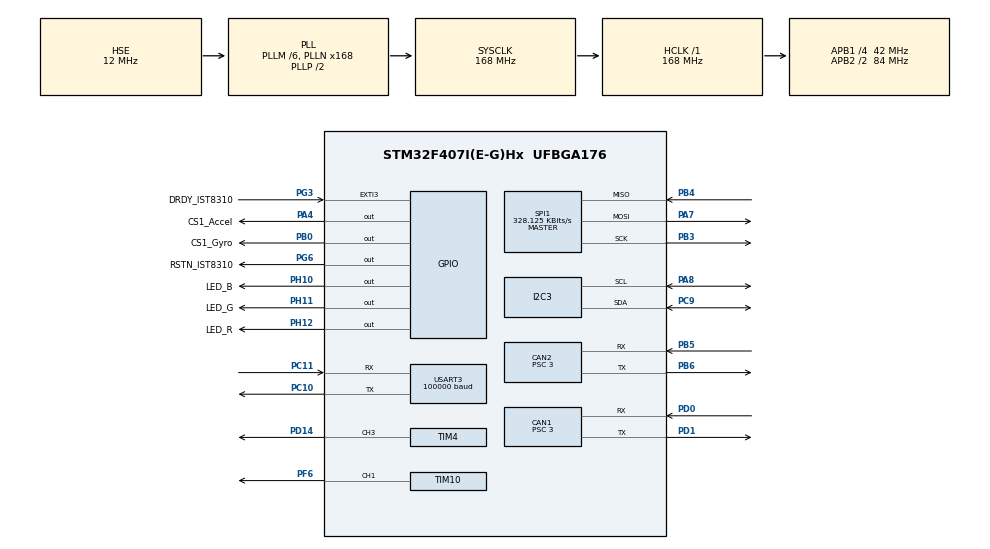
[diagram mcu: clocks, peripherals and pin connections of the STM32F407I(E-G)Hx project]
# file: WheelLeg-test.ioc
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CAN1.ABOM=ENABLE
CAN1.AWUM=ENABLE
CAN1.BS1=CAN_BS1_10TQ
CAN1.BS2=CAN_BS2_3TQ
CAN1.CalculateBaudRate=1000000
CAN1.CalculateTimeBit=1000
CAN1.CalculateTimeQuantum=71.42857142857143
CAN1.NART=ENABLE
CAN1.Prescaler=3
CAN2.ABOM=ENABLE
CAN2.AWUM=ENABLE
CAN2.BS1=CAN_BS1_10TQ
CAN2.BS2=CAN_BS2_3TQ
CAN2.CalculateBaudRate=1000000
CAN2.CalculateTimeBit=1000
CAN2.CalculateTimeQuantum=71.42857142857143
CAN2.NART=ENABLE
CAN2.Prescaler=3
Dma.I2C3_RX.3.Direction=DMA_PERIPH_TO_MEMORY
Dma.I2C3_RX.3.FIFOMode=DMA_FIFOMODE_DISABLE
Dma.I2C3_RX.3.Instance=DMA1_Stream2
Dma.I2C3_RX.3.MemDataAlignment=DMA_MDATAALIGN_BYTE
Dma.I2C3_RX.3.MemInc=DMA_MINC_ENABLE
Dma.I2C3_RX.3.Mode=DMA_NORMAL
Dma.I2C3_RX.3.PeriphDataAlignment=DMA_PDATAALIGN_BYTE
Dma.I2C3_RX.3.PeriphInc=DMA_PINC_DISABLE
Dma.I2C3_RX.3.Priority=DMA_PRIORITY_VERY_HIGH
Dma.I2C3_TX.4.Direction=DMA_MEMORY_TO_PERIPH
Dma.I2C3_TX.4.FIFOMode=DMA_FIFOMODE_DISABLE
Dma.I2C3_TX.4.Instance=DMA1_Stream4
Dma.I2C3_TX.4.MemDataAlignment=DMA_MDATAALIGN_BYTE
Dma.I2C3_TX.4.MemInc=DMA_MINC_ENABLE
Dma.I2C3_TX.4.Mode=DMA_NORMAL
Dma.I2C3_TX.4.PeriphDataAlignment=DMA_PDATAALIGN_BYTE
Dma.I2C3_TX.4.PeriphInc=DMA_PINC_DISABLE
Dma.I2C3_TX.4.Priority=DMA_PRIORITY_VERY_HIGH
Dma.Request0=USART3_RX
Dma.Request1=SPI1_RX
Dma.Request2=SPI1_TX
Dma.Request3=I2C3_RX
Dma.Request4=I2C3_TX
Dma.SPI1_RX.1.Direction=DMA_PERIPH_TO_MEMORY
Dma.SPI1_RX.1.FIFOMode=DMA_FIFOMODE_DISABLE
Dma.SPI1_RX.1.Instance=DMA2_Stream0
Dma.SPI1_RX.1.MemDataAlignment=DMA_MDATAALIGN_BYTE
Dma.SPI1_RX.1.MemInc=DMA_MINC_ENABLE
Dma.SPI1_RX.1.Mode=DMA_NORMAL
Dma.SPI1_RX.1.PeriphDataAlignment=DMA_PDATAALIGN_BYTE
Dma.SPI1_RX.1.PeriphInc=DMA_PINC_DISABLE
Dma.SPI1_RX.1.Priority=DMA_PRIORITY_VERY_HIGH
Dma.SPI1_TX.2.Direction=DMA_MEMORY_TO_PERIPH
Dma.SPI1_TX.2.FIFOMode=DMA_FIFOMODE_DISABLE
Dma.SPI1_TX.2.Instance=DMA2_Stream3
Dma.SPI1_TX.2.MemDataAlignment=DMA_MDATAALIGN_BYTE
Dma.SPI1_TX.2.MemInc=DMA_MINC_ENABLE
Dma.SPI1_TX.2.Mode=DMA_NORMAL
Dma.SPI1_TX.2.PeriphDataAlignment=DMA_PDATAALIGN_BYTE
Dma.SPI1_TX.2.PeriphInc=DMA_PINC_DISABLE
Dma.SPI1_TX.2.Priority=DMA_PRIORITY_VERY_HIGH
Dma.USART3_RX.0.Direction=DMA_PERIPH_TO_MEMORY
Dma.USART3_RX.0.FIFOMode=DMA_FIFOMODE_DISABLE
Dma.USART3_RX.0.Instance=DMA1_Stream1
Dma.USART3_RX.0.MemDataAlignment=DMA_MDATAALIGN_BYTE
Dma.USART3_RX.0.MemInc=DMA_MINC_ENABLE
Dma.USART3_RX.0.Mode=DMA_NORMAL
Dma.USART3_RX.0.PeriphDataAlignment=DMA_PDATAALIGN_BYTE
Dma.USART3_RX.0.PeriphInc=DMA_PINC_DISABLE
Dma.USART3_RX.0.Priority=DMA_PRIORITY_VERY_HIGH
FREERTOS.Tasks01=defaultTask,24,128,StartDefaultTask,Default,NULL,Dynamic,NULL,NULL
FREERTOS.configENABLE_FPU=1
I2C3.I2C_Mode=I2C_Fast
Mcu.Family=STM32F4
Mcu.Name=STM32F407I(E-G)Hx
Mcu.Package=UFBGA176
NVIC.CAN1_RX1_IRQn=true\:5\:0\:false\:false\:true\:true\:true\:true\:true
NVIC.CAN2_RX0_IRQn=true\:5\:0\:false\:false\:true\:true\:true\:true\:true
NVIC.DMA1_Stream1_IRQn=true\:5\:0\:false\:false\:true\:true\:false\:true\:true
NVIC.DMA1_Stream2_IRQn=true\:5\:0\:false\:false\:true\:true\:false\:true\:true
NVIC.DMA1_Stream4_IRQn=true\:5\:0\:false\:false\:true\:true\:false\:true\:true
NVIC.DMA2_Stream0_IRQn=true\:5\:0\:false\:false\:true\:true\:false\:true\:true
NVIC.DMA2_Stream3_IRQn=true\:5\:0\:false\:false\:true\:true\:false\:true\:true
NVIC.PriorityGroup=NVIC_PRIORITYGROUP_4
NVIC.SPI1_IRQn=true\:5\:0\:false\:false\:true\:true\:true\:true\:true
NVIC.TIM1_TRG_COM_TIM11_IRQn=true\:5\:0\:true\:false\:true\:false\:false\:true\:true
NVIC.TimeBase=TIM1_TRG_COM_TIM11_IRQn
NVIC.TimeBaseIP=TIM11
NVIC.USART3_IRQn=true\:5\:0\:false\:false\:true\:true\:true\:true\:true
PA13.Mode=Serial_Wire
PA13.Signal=SYS_JTMS-SWDIO
PA14.Mode=Serial_Wire
PA14.Signal=SYS_JTCK-SWCLK
PA4.GPIO_Label=CS1_Accel
PA4.PinState=GPIO_PIN_SET
PA4.Signal=GPIO_Output
PA7.Mode=Full_Duplex_Master
PA7.Signal=SPI1_MOSI
PA8.Mode=I2C
PA8.Signal=I2C3_SCL
PB0.GPIO_Label=CS1_Gyro
PB0.PinState=GPIO_PIN_SET
PB0.Signal=GPIO_Output
PB3.Mode=Full_Duplex_Master
PB3.Signal=SPI1_SCK
PB4.Mode=Full_Duplex_Master
PB4.Signal=SPI1_MISO
PB5.Mode=CAN_Activate
PB5.Signal=CAN2_RX
PB6.Mode=CAN_Activate
PB6.Signal=CAN2_TX
PC10.Mode=Asynchronous
PC10.Signal=USART3_TX
PC11.Mode=Asynchronous
PC11.Signal=USART3_RX
PC9.Mode=I2C
PC9.Signal=I2C3_SDA
PD0.Mode=CAN_Activate
PD0.Signal=CAN1_RX
PD1.Mode=CAN_Activate
PD1.Signal=CAN1_TX
PD14.Signal=S_TIM4_CH3
PF6.GPIO_PuPd=GPIO_PULLUP
PF6.GPIO_Speed=GPIO_SPEED_FREQ_HIGH
PF6.Signal=S_TIM10_CH1
PG3.GPIO_Label=DRDY_IST8310
PG3.GPIO_PuPd=GPIO_PULLUP
PG3.Signal=GPXTI3
PG6.GPIO_Label=RSTN_IST8310
PG6.GPIO_PuPd=GPIO_PULLUP
PG6.GPIO_Speed=GPIO_SPEED_FREQ_MEDIUM
PG6.PinState=GPIO_PIN_SET
PG6.Signal=GPIO_Output
PH0-OSC_IN.Mode=HSE-External-Oscillator
PH0-OSC_IN.Signal=RCC_OSC_IN
PH1-OSC_OUT.Mode=HSE-External-Oscillator
PH1-OSC_OUT.Signal=RCC_OSC_OUT
PH10.GPIO_Label=LED_B
PH10.PinState=GPIO_PIN_SET
PH10.Signal=GPIO_Output
PH11.GPIO_Label=LED_G
PH11.Signal=GPIO_Output
PH12.GPIO_Label=LED_R
PH12.Signal=GPIO_Output
ProjectManager.HeapSize=0x200
ProjectManager.StackSize=0x400
ProjectManager.TargetToolchain=CMake
RCC.48MHZClocksFreq_Value=84000000
RCC.AHBFreq_Value=168000000
RCC.APB1CLKDivider=RCC_HCLK_DIV4
RCC.APB1Freq_Value=42000000
RCC.APB1TimFreq_Value=84000000
RCC.APB2CLKDivider=RCC_HCLK_DIV2
RCC.APB2Freq_Value=84000000
RCC.APB2TimFreq_Value=168000000
RCC.CortexFreq_Value=168000000
RCC.HCLKFreq_Value=168000000
RCC.HSE_VALUE=12000000
RCC.HSI_VALUE=16000000
RCC.LSE_VALUE=32768
RCC.PLLM=6
RCC.PLLN=168
RCC.PLLSourceVirtual=RCC_PLLSOURCE_HSE
RCC.SYSCLKFreq_VALUE=168000000
RCC.SYSCLKSource=RCC_SYSCLKSOURCE_PLLCLK
RCC.VCOOutputFreq_Value=336000000
SH.S_TIM10_CH1.0=TIM10_CH1,PWM Generation1 CH1
SH.S_TIM4_CH3.0=TIM4_CH3,PWM Generation3 CH3
SPI1.BaudRatePrescaler=SPI_BAUDRATEPRESCALER_256
SPI1.CLKPhase=SPI_PHASE_2EDGE
SPI1.CLKPolarity=SPI_POLARITY_HIGH
SPI1.CalculateBaudRate=328.125 KBits/s
SPI1.Direction=SPI_DIRECTION_2LINES
SPI1.Mode=SPI_MODE_MASTER
SPI1.VirtualType=VM_MASTER
TIM10.Channel=TIM_CHANNEL_1
TIM10.OC1Preload_PWM=DISABLE
TIM10.Period=4999
TIM4.Channel-PWM\ Generation3\ CH3=TIM_CHANNEL_3
TIM4.Period=999
TIM4.Prescaler=1
TIM7.Prescaler=83
USART3.BaudRate=100000
USART3.Mode=MODE_RX
USART3.Parity=PARITY_EVEN
USART3.VirtualMode=VM_ASYNC
USART3.WordLength=WORDLENGTH_9B
VP_FREERTOS_VS_CMSIS_V2.Mode=CMSIS_V2
VP_SYS_VS_tim11.Mode=TIM11
VP_TIM10_VS_ClockSourceINT.Mode=Enable_Timer
VP_TIM4_VS_ClockSourceINT.Mode=Internal
VP_TIM7_VS_ClockSourceINT.Mode=Enable_Timer
board=custom

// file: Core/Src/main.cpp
/* USER CODE BEGIN Header */
/**
 ******************************************************************************
 * @file           : main.c
 * @brief          : Main program body
 ******************************************************************************
 * @attention
 *
 * Copyright (c) 2024 STMicroelectronics.
 * All rights reserved.
 *
 * This software is licensed under terms that can be found in the LICENSE file
 * in the root directory of this software component.
 * If no LICENSE file comes with this software, it is provided AS-IS.
 *
 ******************************************************************************
 */
/* USER CODE END Header */
#include "main.h"
#include "cmsis_os.h"
#include "can.h"
#include "dma.h"
#include "i2c.h"
#include "spi.h"
#include "tim.h"
#include "usart.h"
#include "gpio.h"

/* USER CODE BEGIN Includes */
#include "tasks.hpp"
#include "Utils/note.hpp"
#include "Utils/music.hpp"
/* USER CODE END Includes */

/* USER CODE BEGIN PV */
uint16_t delayUnit = 150;
// Note note[] = { { H3b, 2 * delayUnit }, { M3b, 1 * delayUnit },
//                 { M7b, 4 * delayUnit }, { M6b, 6 * delayUnit },
//                 { H3b, 2 * delayUnit }, { M7b, 10 * delayUnit } };
Note note[] = { { H1, 1 * delayUnit }, { Z0, 1 * delayUnit },
                { H1, 1 * delayUnit }, { Z0, 2 * delayUnit },
                { H1, 1 * delayUnit }, { H2, 1 * delayUnit },
                { H3, 1 * delayUnit } };
/* USER CODE END PV */

int main(void)
{

    /* MCU
     * Configuration--------------------------------------------------------*/

    /* Reset of all peripherals, Initializes the Flash interface and the
     * Systick. */
    HAL_Init();

    /* Configure the system clock */
    SystemClock_Config();

    /* Initialize all configured peripherals */
    MX_GPIO_Init();
    MX_DMA_Init();
    MX_CAN1_Init();
    MX_CAN2_Init();
    MX_USART3_UART_Init();
    MX_I2C3_Init();
    MX_SPI1_Init();
    MX_TIM10_Init();
    MX_TIM7_Init();
    MX_TIM4_Init();
    /* USER CODE BEGIN 2 */
    HAL_TIM_Base_Start(&htim4);
    HAL_TIM_PWM_Start(&htim4, TIM_CHANNEL_3);

    // windows XP startup sound
    for (int i = 0; i < 7; i++) {
        note[i].play();
    }

    wheelControlMutex = xSemaphoreCreateMutex();
    /* USER CODE END 2 */

    /* Init scheduler */
    osKernelInitialize();

    /* Call init function for freertos objects (in cmsis_os2.c) */
    MX_FREERTOS_Init();
    WheelLegTasksInit();

    /* Start scheduler */
    osKernelStart();

    /* We should never get here as control is now taken by the scheduler */

    /* Infinite loop */
    while (1) {

    }
}

void SystemClock_Config(void)
{
    RCC_OscInitTypeDef RCC_OscInitStruct = { 0 };
    RCC_ClkInitTypeDef RCC_ClkInitStruct = { 0 };

    /** Configure the main internal regulator output voltage
     */
    __HAL_RCC_PWR_CLK_ENABLE();
    __HAL_PWR_VOLTAGESCALING_CONFIG(PWR_REGULATOR_VOLTAGE_SCALE1);

    /** Initializes the RCC Oscillators according to the specified parameters
     * in the RCC_OscInitTypeDef structure.
     */
    RCC_OscInitStruct.OscillatorType = RCC_OSCILLATORTYPE_HSE;
    RCC_OscInitStruct.HSEState = RCC_HSE_ON;
    RCC_OscInitStruct.PLL.PLLState = RCC_PLL_ON;
    RCC_OscInitStruct.PLL.PLLSource = RCC_PLLSOURCE_HSE;
    RCC_OscInitStruct.PLL.PLLM = 6;
    RCC_OscInitStruct.PLL.PLLN = 168;
    RCC_OscInitStruct.PLL.PLLP = RCC_PLLP_DIV2;
    RCC_OscInitStruct.PLL.PLLQ = 4;
    if (HAL_RCC_OscConfig(&RCC_OscInitStruct) != HAL_OK) {
        Error_Handler();
    }

    /** Initializes the CPU, AHB and APB buses clocks
     */
    RCC_ClkInitStruct.ClockType = RCC_CLOCKTYPE_HCLK | RCC_CLOCKTYPE_SYSCLK |
                                  RCC_CLOCKTYPE_PCLK1 | RCC_CLOCKTYPE_PCLK2;
    RCC_ClkInitStruct.SYSCLKSource = RCC_SYSCLKSOURCE_PLLCLK;
    RCC_ClkInitStruct.AHBCLKDivider = RCC_SYSCLK_DIV1;
    RCC_ClkInitStruct.APB1CLKDivider = RCC_HCLK_DIV4;
    RCC_ClkInitStruct.APB2CLKDivider = RCC_HCLK_DIV2;

    if (HAL_RCC_ClockConfig(&RCC_ClkInitStruct, FLASH_LATENCY_5) != HAL_OK) {
        Error_Handler();
    }
}

void HAL_TIM_PeriodElapsedCallback(TIM_HandleTypeDef *htim)
{
    if (htim->Instance == TIM11) {
        HAL_IncTick();
    }
}

void Error_Handler(void)
{
    /* USER CODE BEGIN Error_Handler_Debug */
    /* User can add his own implementation to report the HAL error return state
     */
    __disable_irq();
    while (1) {
    }
    /* USER CODE END Error_Handler_Debug */
}

#ifdef USE_FULL_ASSERT
/**
 * @brief  Reports the name of the source file and the source line number
 *         where the assert_param error has occurred.
 * @param  file: pointer to the source file name
 * @param  line: assert_param error line source number
 * @retval None
 */
void assert_failed(uint8_t *file, uint32_t line)
{
    /* USER CODE BEGIN 6 */
    /* User can add his own implementation to report the file name and line
       number, ex: printf("Wrong parameters value: file %s on line %d\r\n",
       file, line) */
    /* USER CODE END 6 */
}
#endif /* USE_FULL_ASSERT */
